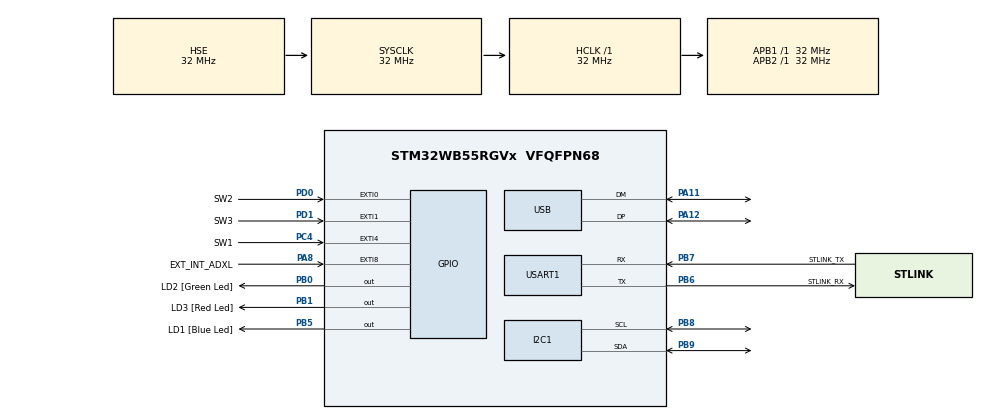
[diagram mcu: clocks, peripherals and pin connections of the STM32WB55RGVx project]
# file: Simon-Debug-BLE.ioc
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I2C1.Timing=0x00707CBB
Mcu.Family=STM32WB
Mcu.Name=STM32WB55RGVx
Mcu.Package=VFQFPN68
NVIC.EXTI0_IRQn=true\:0\:0\:false\:false\:true\:true\:true
NVIC.EXTI1_IRQn=true\:0\:0\:false\:false\:true\:true\:true
NVIC.EXTI4_IRQn=true\:0\:0\:false\:false\:true\:true\:true
NVIC.EXTI9_5_IRQn=true\:0\:0\:false\:false\:true\:true\:true
NVIC.PriorityGroup=NVIC_PRIORITYGROUP_4
NVIC.RTC_WKUP_IRQn=true\:0\:0\:false\:false\:true\:true\:true
OSC_IN.Mode=HSE-External-Oscillator
OSC_IN.Signal=RCC_OSC_IN
OSC_OUT.Mode=HSE-External-Oscillator
OSC_OUT.Signal=RCC_OSC_OUT
PA11.Mode=Device
PA11.Signal=USB_DM
PA12.Mode=Device
PA12.Signal=USB_DP
PA13.GPIO_Label=JTMS
PA13.Mode=Trace_Asynchronous_SW
PA13.Signal=SYS_JTMS-SWDIO
PA14.GPIO_Label=JTCK
PA14.Mode=Trace_Asynchronous_SW
PA14.Signal=SYS_JTCK-SWCLK
PA8.GPIO_Label=EXT_INT_ADXL
PA8.Signal=GPXTI8
PB0.GPIO_Label=LD2 [Green Led]
PB0.Signal=GPIO_Output
PB1.GPIO_Label=LD3 [Red Led]
PB1.Signal=GPIO_Output
PB3.GPIO_Label=JTDO
PB3.Mode=Trace_Asynchronous_SW
PB3.Signal=SYS_JTDO-SWO
PB5.GPIO_Label=LD1 [Blue Led]
PB5.Signal=GPIO_Output
PB6.GPIO_Label=STLINK_RX
PB6.Mode=Asynchronous
PB6.Signal=USART1_TX
PB7.GPIO_Label=STLINK_TX
PB7.Mode=Asynchronous
PB7.Signal=USART1_RX
PB8.Mode=I2C
PB8.Signal=I2C1_SCL
PB9.Mode=I2C
PB9.Signal=I2C1_SDA
PC13.Mode=SYS_WakeUp1
PC13.Signal=SYS_WKUP2
PC14-OSC32_IN.Mode=LSE-External-Oscillator
PC14-OSC32_IN.Signal=RCC_OSC32_IN
PC15-OSC32_OUT.Mode=LSE-External-Oscillator
PC15-OSC32_OUT.Signal=RCC_OSC32_OUT
PC4.GPIO_Label=SW1
PC4.GPIO_ModeDefaultEXTI=GPIO_MODE_IT_FALLING
PC4.GPIO_PuPd=GPIO_PULLUP
PC4.Signal=GPXTI4
PD0.GPIO_Label=SW2
PD0.GPIO_ModeDefaultEXTI=GPIO_MODE_IT_FALLING
PD0.GPIO_PuPd=GPIO_PULLUP
PD0.Signal=GPXTI0
PD1.GPIO_Label=SW3
PD1.GPIO_ModeDefaultEXTI=GPIO_MODE_IT_FALLING
PD1.GPIO_PuPd=GPIO_PULLUP
PD1.Signal=GPXTI1
ProjectManager.HeapSize=0x200
ProjectManager.StackSize=0x400
ProjectManager.TargetToolchain=TrueSTUDIO
RCC.ADCFreq_Value=48000000
RCC.AHBFreq_Value=32000000
RCC.APB1Freq_Value=32000000
RCC.APB1TimFreq_Value=32000000
RCC.APB2Freq_Value=32000000
RCC.APB2TimFreq_Value=32000000
RCC.APB3Freq_Value=16000000
RCC.CortexFreq_Value=32000000
RCC.HCLKFreq_Value=32000000
RCC.HSE_VALUE=32000000
RCC.HSI48_VALUE=48000000
RCC.HSI_VALUE=16000000
RCC.PLLN=32
RCC.PLLSAI1N=24
RCC.RFWKPClockSelection=RCC_RFWKPCLKSOURCE_LSE
RCC.RTCClockSelection=RCC_RTCCLKSOURCE_LSE
RCC.SYSCLKFreq_VALUE=32000000
RCC.SYSCLKSource=RCC_SYSCLKSOURCE_HSE
RCC.USBFreq_Value=48000000
RCC.VCOOutputFreq_Value=128000000
RF1.Mode=RF1_Activate
RF1.Signal=RF_RF1
STM32_WPAN.CFG_FAST_CONN_ADV_INTERVAL_MAX_HEXA=0xa0
STM32_WPAN.CFG_LP_CONN_ADV_INTERVAL_MAX_HEXA=0xfa0
STM32_WPAN.CUSTOM_TEMPLATE=Enabled
STM32_WPAN.LOCAL_NAME=P2PSRV4
STM32_WPAN.LOCAL_NAME_FORMATTED=,'P','2','P','S','R','V','4'
USART1.VirtualMode-Asynchronous=VM_ASYNC
VP_HSEM_VS_HSEM.Mode=HSEM_Activate
VP_RTC_VS_RTC_Activate.Mode=RTC_Enabled
VP_RTC_VS_RTC_WakeUp_intern.Mode=WakeUp
VP_STM32_WPAN_VS_BLE_HOST.Mode=STM32_WPAN_Enabled
board=P-NUCLEO-WB55-Nucleo

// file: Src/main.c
/* USER CODE BEGIN Header */
/**
  ******************************************************************************
  * @file           : main.c
  * @brief          : Main program body
  ******************************************************************************
  * @attention
  *
  * <h2><center>&copy; Copyright (c) 2019 STMicroelectronics.
  * All rights reserved.</center></h2>
  *
  * This software component is licensed by ST under Ultimate Liberty license
  * SLA0044, the "License"; You may not use this file except in compliance with
  * the License. You may obtain a copy of the License at:
  *                             www.st.com/SLA0044
  *
  ******************************************************************************
  */
/* USER CODE END Header */

#include "main.h"
#include "app_entry.h"

/* USER CODE BEGIN Includes */
#include "app_common.h"
#include "lpm.h"
#include "scheduler.h"
#include "dbg_trace.h"
#include "hw_conf.h"
#include "otp.h"
#include "adxl375.h"
/* USER CODE END Includes */

I2C_HandleTypeDef hi2c1;

RTC_HandleTypeDef hrtc;

UART_HandleTypeDef huart1;

PCD_HandleTypeDef hpcd_USB_FS;

/* USER CODE BEGIN PV */
volatile uint8_t measurement[6]; //measurement array
volatile int16_t x,y,z; //raw values
volatile float xg, yg, zg; //weighted values

static float scaleFactor = .049;

volatile uint8_t readModeFlag = 0;
uint8_t intModeFlag;
/* USER CODE END PV */

void SystemClock_Config(void);
static void MX_GPIO_Init(void);
static void MX_I2C1_Init(void);
static void MX_RF_Init(void);
static void MX_RTC_Init(void);
static void MX_USART1_UART_Init(void);
static void MX_USB_PCD_Init(void);

int main(void)
{

  /* MCU Configuration--------------------------------------------------------*/

  /* Reset of all peripherals, Initializes the Flash interface and the Systick. */
  HAL_Init();

  /* USER CODE BEGIN Init */
  Config_HSE();
  /* USER CODE END Init */

  /* Configure the system clock */
  SystemClock_Config();

  /* Initialize all configured peripherals */
  MX_GPIO_Init();
  MX_I2C1_Init();
  MX_RF_Init();
  MX_RTC_Init();
  MX_USART1_UART_Init();
  MX_USB_PCD_Init();
  APPE_Init();

  /* Infinite loop */
  while (1)
  {

    /* USER CODE BEGIN 3 */
	  SCH_Run(~0);
  }
  /* USER CODE END 3 */
}

void SystemClock_Config(void)
{
  RCC_OscInitTypeDef RCC_OscInitStruct = {0};
  RCC_ClkInitTypeDef RCC_ClkInitStruct = {0};
  RCC_PeriphCLKInitTypeDef PeriphClkInitStruct = {0};

  /** Macro to configure the PLL multiplication factor
  */
  __HAL_RCC_PLL_PLLM_CONFIG(RCC_PLLM_DIV1);
  /** Macro to configure the PLL clock source
  */
  __HAL_RCC_PLL_PLLSOURCE_CONFIG(RCC_PLLSOURCE_MSI);
  /** Configure LSE Drive Capability
  */
  __HAL_RCC_LSEDRIVE_CONFIG(RCC_LSEDRIVE_LOW);
  /** Configure the main internal regulator output voltage
  */
  __HAL_PWR_VOLTAGESCALING_CONFIG(PWR_REGULATOR_VOLTAGE_SCALE1);
  /** Initializes the CPU, AHB and APB busses clocks
  */
  RCC_OscInitStruct.OscillatorType = RCC_OSCILLATORTYPE_HSI|RCC_OSCILLATORTYPE_HSE
                              |RCC_OSCILLATORTYPE_LSE|RCC_OSCILLATORTYPE_MSI;
  RCC_OscInitStruct.HSEState = RCC_HSE_ON;
  RCC_OscInitStruct.LSEState = RCC_LSE_ON;
  RCC_OscInitStruct.HSIState = RCC_HSI_ON;
  RCC_OscInitStruct.MSIState = RCC_MSI_ON;
  RCC_OscInitStruct.HSICalibrationValue = RCC_HSICALIBRATION_DEFAULT;
  RCC_OscInitStruct.MSICalibrationValue = RCC_MSICALIBRATION_DEFAULT;
  RCC_OscInitStruct.MSIClockRange = RCC_MSIRANGE_6;
  RCC_OscInitStruct.PLL.PLLState = RCC_PLL_NONE;
  if (HAL_RCC_OscConfig(&RCC_OscInitStruct) != HAL_OK)
  {
    Error_Handler();
  }
  /** Configure the SYSCLKSource, HCLK, PCLK1 and PCLK2 clocks dividers
  */
  RCC_ClkInitStruct.ClockType = RCC_CLOCKTYPE_HCLK4|RCC_CLOCKTYPE_HCLK2
                              |RCC_CLOCKTYPE_HCLK|RCC_CLOCKTYPE_SYSCLK
                              |RCC_CLOCKTYPE_PCLK1|RCC_CLOCKTYPE_PCLK2;
  RCC_ClkInitStruct.SYSCLKSource = RCC_SYSCLKSOURCE_HSE;
  RCC_ClkInitStruct.AHBCLKDivider = RCC_SYSCLK_DIV1;
  RCC_ClkInitStruct.APB1CLKDivider = RCC_HCLK_DIV1;
  RCC_ClkInitStruct.APB2CLKDivider = RCC_HCLK_DIV1;
  RCC_ClkInitStruct.AHBCLK2Divider = RCC_SYSCLK_DIV1;
  RCC_ClkInitStruct.AHBCLK4Divider = RCC_SYSCLK_DIV1;

  if (HAL_RCC_ClockConfig(&RCC_ClkInitStruct, FLASH_LATENCY_1) != HAL_OK)
  {
    Error_Handler();
  }
  /** Initializes the peripherals clocks
  */
  PeriphClkInitStruct.PeriphClockSelection = RCC_PERIPHCLK_SMPS|RCC_PERIPHCLK_RFWAKEUP
                              |RCC_PERIPHCLK_RTC|RCC_PERIPHCLK_USART1
                              |RCC_PERIPHCLK_I2C1|RCC_PERIPHCLK_USB;
  PeriphClkInitStruct.PLLSAI1.PLLN = 24;
  PeriphClkInitStruct.PLLSAI1.PLLP = RCC_PLLP_DIV2;
  PeriphClkInitStruct.PLLSAI1.PLLQ = RCC_PLLQ_DIV2;
  PeriphClkInitStruct.PLLSAI1.PLLR = RCC_PLLR_DIV2;
  PeriphClkInitStruct.PLLSAI1.PLLSAI1ClockOut = RCC_PLLSAI1_USBCLK;
  PeriphClkInitStruct.Usart1ClockSelection = RCC_USART1CLKSOURCE_PCLK2;
  PeriphClkInitStruct.I2c1ClockSelection = RCC_I2C1CLKSOURCE_PCLK1;
  PeriphClkInitStruct.UsbClockSelection = RCC_USBCLKSOURCE_PLLSAI1;
  PeriphClkInitStruct.RTCClockSelection = RCC_RTCCLKSOURCE_LSE;
  PeriphClkInitStruct.RFWakeUpClockSelection = RCC_RFWKPCLKSOURCE_LSE;
  PeriphClkInitStruct.SmpsClockSelection = RCC_SMPSCLKSOURCE_HSE;
  PeriphClkInitStruct.SmpsDivSelection = RCC_SMPSCLKDIV_RANGE0;

  if (HAL_RCCEx_PeriphCLKConfig(&PeriphClkInitStruct) != HAL_OK)
  {
    Error_Handler();
  }
  /** Enable MSI Auto calibration
  */
  HAL_RCCEx_EnableMSIPLLMode();
}

static void MX_I2C1_Init(void)
{

  hi2c1.Instance = I2C1;
  hi2c1.Init.Timing = 0x00707CBB;
  hi2c1.Init.OwnAddress1 = 0;
  hi2c1.Init.AddressingMode = I2C_ADDRESSINGMODE_7BIT;
  hi2c1.Init.DualAddressMode = I2C_DUALADDRESS_DISABLE;
  hi2c1.Init.OwnAddress2 = 0;
  hi2c1.Init.OwnAddress2Masks = I2C_OA2_NOMASK;
  hi2c1.Init.GeneralCallMode = I2C_GENERALCALL_DISABLE;
  hi2c1.Init.NoStretchMode = I2C_NOSTRETCH_DISABLE;
  if (HAL_I2C_Init(&hi2c1) != HAL_OK)
  {
    Error_Handler();
  }
  /** Configure Analogue filter
  */
  if (HAL_I2CEx_ConfigAnalogFilter(&hi2c1, I2C_ANALOGFILTER_ENABLE) != HAL_OK)
  {
    Error_Handler();
  }
  /** Configure Digital filter
  */
  if (HAL_I2CEx_ConfigDigitalFilter(&hi2c1, 0) != HAL_OK)
  {
    Error_Handler();
  }

}

static void MX_RF_Init(void)
{

}

static void MX_RTC_Init(void)
{

  /** Initialize RTC Only
  */
  hrtc.Instance = RTC;
  hrtc.Init.HourFormat = RTC_HOURFORMAT_24;
  hrtc.Init.AsynchPrediv = 127;
  hrtc.Init.SynchPrediv = 255;
  hrtc.Init.OutPut = RTC_OUTPUT_DISABLE;
  hrtc.Init.OutPutRemap = RTC_OUTPUT_REMAP_NONE;
  hrtc.Init.OutPutPolarity = RTC_OUTPUT_POLARITY_HIGH;
  hrtc.Init.OutPutType = RTC_OUTPUT_TYPE_OPENDRAIN;
  if (HAL_RTC_Init(&hrtc) != HAL_OK)
  {
    Error_Handler();
  }
  /** Enable the WakeUp
  */
  if (HAL_RTCEx_SetWakeUpTimer_IT(&hrtc, 0, RTC_WAKEUPCLOCK_RTCCLK_DIV16) != HAL_OK)
  {
    Error_Handler();
  }

}

static void MX_USART1_UART_Init(void)
{

  huart1.Instance = USART1;
  huart1.Init.BaudRate = 115200;
  huart1.Init.WordLength = UART_WORDLENGTH_7B;
  huart1.Init.StopBits = UART_STOPBITS_1;
  huart1.Init.Parity = UART_PARITY_NONE;
  huart1.Init.Mode = UART_MODE_TX_RX;
  huart1.Init.HwFlowCtl = UART_HWCONTROL_NONE;
  huart1.Init.OverSampling = UART_OVERSAMPLING_16;
  huart1.Init.OneBitSampling = UART_ONE_BIT_SAMPLE_DISABLE;
  huart1.Init.ClockPrescaler = UART_PRESCALER_DIV1;
  huart1.AdvancedInit.AdvFeatureInit = UART_ADVFEATURE_NO_INIT;
  if (HAL_UART_Init(&huart1) != HAL_OK)
  {
    Error_Handler();
  }
  if (HAL_UARTEx_SetTxFifoThreshold(&huart1, UART_TXFIFO_THRESHOLD_1_8) != HAL_OK)
  {
    Error_Handler();
  }
  if (HAL_UARTEx_SetRxFifoThreshold(&huart1, UART_RXFIFO_THRESHOLD_1_8) != HAL_OK)
  {
    Error_Handler();
  }
  if (HAL_UARTEx_DisableFifoMode(&huart1) != HAL_OK)
  {
    Error_Handler();
  }

}

static void MX_USB_PCD_Init(void)
{

  hpcd_USB_FS.Instance = USB;
  hpcd_USB_FS.Init.dev_endpoints = 8;
  hpcd_USB_FS.Init.speed = PCD_SPEED_FULL;
  hpcd_USB_FS.Init.phy_itface = PCD_PHY_EMBEDDED;
  hpcd_USB_FS.Init.Sof_enable = DISABLE;
  hpcd_USB_FS.Init.low_power_enable = DISABLE;
  hpcd_USB_FS.Init.lpm_enable = DISABLE;
  hpcd_USB_FS.Init.battery_charging_enable = DISABLE;
  if (HAL_PCD_Init(&hpcd_USB_FS) != HAL_OK)
  {
    Error_Handler();
  }

}

static void MX_GPIO_Init(void)
{
  GPIO_InitTypeDef GPIO_InitStruct = {0};

  /* GPIO Ports Clock Enable */
  __HAL_RCC_GPIOC_CLK_ENABLE();
  __HAL_RCC_GPIOB_CLK_ENABLE();
  __HAL_RCC_GPIOA_CLK_ENABLE();
  __HAL_RCC_GPIOD_CLK_ENABLE();

  /*Configure GPIO pin Output Level */
  HAL_GPIO_WritePin(GPIOB, LD2_Pin|LD3_Pin|LD1_Pin, GPIO_PIN_RESET);

  /*Configure GPIO pin : EXT_INT_ADXL_Pin */
  GPIO_InitStruct.Pin = EXT_INT_ADXL_Pin;
  GPIO_InitStruct.Mode = GPIO_MODE_IT_RISING;
  GPIO_InitStruct.Pull = GPIO_NOPULL;
  HAL_GPIO_Init(EXT_INT_ADXL_GPIO_Port, &GPIO_InitStruct);

  /*Configure GPIO pin : SW1_Pin */
  GPIO_InitStruct.Pin = SW1_Pin;
  GPIO_InitStruct.Mode = GPIO_MODE_IT_FALLING;
  GPIO_InitStruct.Pull = GPIO_PULLUP;
  HAL_GPIO_Init(SW1_GPIO_Port, &GPIO_InitStruct);

  /*Configure GPIO pins : LD2_Pin LD3_Pin LD1_Pin */
  GPIO_InitStruct.Pin = LD2_Pin|LD3_Pin|LD1_Pin;
  GPIO_InitStruct.Mode = GPIO_MODE_OUTPUT_PP;
  GPIO_InitStruct.Pull = GPIO_NOPULL;
  GPIO_InitStruct.Speed = GPIO_SPEED_FREQ_LOW;
  HAL_GPIO_Init(GPIOB, &GPIO_InitStruct);

  /*Configure GPIO pins : SW2_Pin SW3_Pin */
  GPIO_InitStruct.Pin = SW2_Pin|SW3_Pin;
  GPIO_InitStruct.Mode = GPIO_MODE_IT_FALLING;
  GPIO_InitStruct.Pull = GPIO_PULLUP;
  HAL_GPIO_Init(GPIOD, &GPIO_InitStruct);

  /* EXTI interrupt init*/
  HAL_NVIC_SetPriority(EXTI0_IRQn, 0, 0);
  HAL_NVIC_EnableIRQ(EXTI0_IRQn);

  HAL_NVIC_SetPriority(EXTI1_IRQn, 0, 0);
  HAL_NVIC_EnableIRQ(EXTI1_IRQn);

  HAL_NVIC_SetPriority(EXTI4_IRQn, 0, 0);
  HAL_NVIC_EnableIRQ(EXTI4_IRQn);

  HAL_NVIC_SetPriority(EXTI9_5_IRQn, 0, 0);
  HAL_NVIC_EnableIRQ(EXTI9_5_IRQn);

}

/* USER CODE BEGIN 4 */
void Config_HSE(void)
{
    OTP_ID0_t * pOTP;

  /**
   * Read HSE_Tuning from OTP
   */
  pOTP = (OTP_ID0_t *) OTP_Read(0);
  if (pOTP)
  {
    LL_RCC_HSE_SetCapacitorTuning(pOTP->hse_tuning);
  }

  return;
}

void adxlTestMeasure()
{
	adxlMultiByteReadI2C(0x32, measurement);
	x = ((measurement[0])| measurement[1]<<8);
	y = ((measurement[2])| measurement[3]<<8);
	z = ((measurement[4])| measurement[5]<<8);

	xg = x * scaleFactor;
	yg = y * scaleFactor;
	zg = z * scaleFactor;

	printf("X:%f ", xg);
	printf("Y:%f ", yg);
	printf("Z:%f\n", zg);

	if(readModeFlag == 1)
		HAL_Delay(500);
	return;
}

void runTestRoutine(uint8_t flag)
{

	if (flag == 1)
	{
		readModeFlag = 1;
	}
	else readModeFlag = 0;
	return;
}
/* USER CODE END 4 */

void Error_Handler(void)
{
}

/************************ (C) COPYRIGHT STMicroelectronics *****END OF FILE****/
